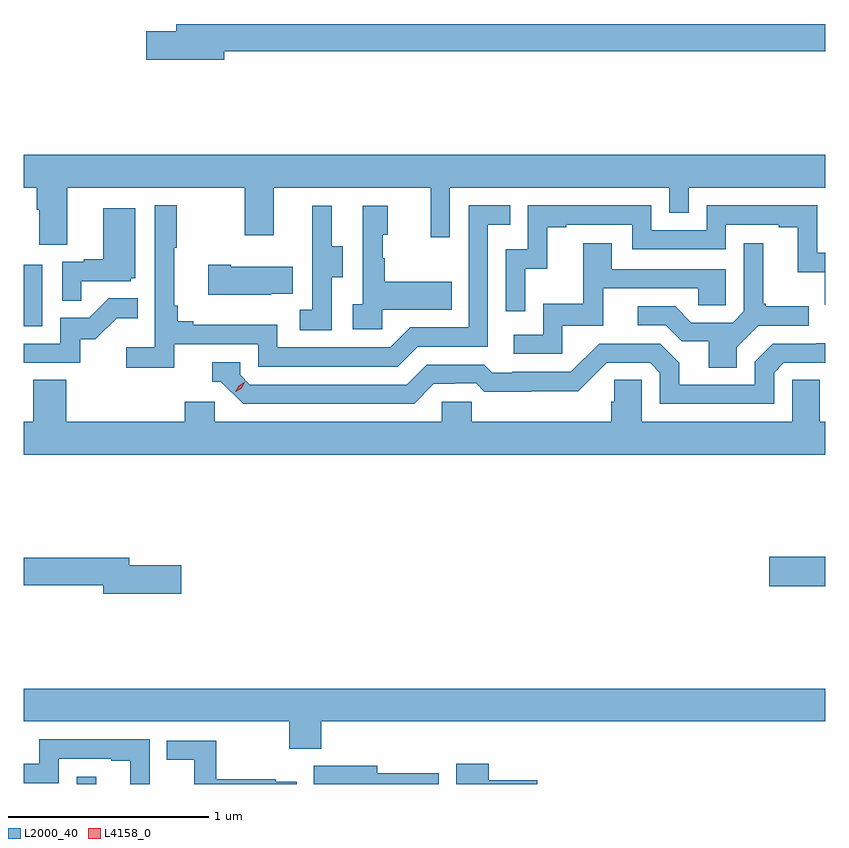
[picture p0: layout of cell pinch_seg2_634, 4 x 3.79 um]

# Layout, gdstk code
import gdstk
lib = gdstk.Library(unit=1e-6, precision=1e-09)
def R(c, l, rs):  # rectangles x0, y0, x1, y1
    for r in rs: c.add(gdstk.rectangle(r[:2], r[2:], *l))
def P(c, l, *ps):  # polygons
    for p in ps: c.add(gdstk.Polygon(p, *l))
L2000_40 = (2000, 40)
L4158_0 = (4158, 0)

pinch_seg2_634 = lib.new_cell('pinch_seg2_634')
R(pinch_seg2_634, L2000_40, [(1066.53,587.384,1066.627,587.419), (1069.986,588.371,1070.266,588.518), (1066.266,589.668,1066.36,589.975)])
P(pinch_seg2_634, L2000_40, [(1067.266,591.04),(1070.266,591.04),(1070.266,591.176),(1067.027,591.176),(1067.027,591.14),(1066.878,591.14),(1066.878,590.998),(1067.266,590.998)],
  [(1066.266,590.36),(1066.331,590.36),(1066.331,590.248),(1066.343,590.248),(1066.343,590.074),(1066.483,590.074),(1066.483,590.36),(1067.368,590.36),(1067.368,590.121),(1067.515,590.121),(1067.515,590.36),(1068.296,590.36),(1068.296,590.112),(1068.393,590.112),(1068.393,590.36),(1069.488,590.36),(1069.488,590.233),(1069.584,590.233),(1069.584,590.36),(1070.266,590.36),(1070.266,590.524),(1066.266,590.524)],
  [(1067.018,589.578),(1067.436,589.578),(1067.436,589.467),(1068.133,589.467),(1068.232,589.566),(1068.582,589.566),(1068.582,590.175),(1068.695,590.175),(1068.695,590.271),(1068.486,590.271),(1068.486,589.662),(1068.195,589.662),(1068.096,589.563),(1067.532,589.563),(1067.532,589.675),(1067.113,589.675),(1067.113,589.694),(1067.036,589.694),(1067.036,589.771),(1067.017,589.771),(1067.017,590.059),(1067.029,590.059),(1067.029,590.272),(1066.92,590.272),(1066.92,589.564),(1066.779,589.564),(1066.779,589.462),(1067.018,589.462)],
  [(1068.768,589.955),(1068.878,589.955),(1068.878,590.163),(1068.973,590.163),(1068.973,590.175),(1069.302,590.175),(1069.302,590.052),(1069.77,590.052),(1069.77,590.175),(1070.033,590.175),(1070.033,590.163),(1070.129,590.163),(1070.129,589.937),(1070.262,589.937),(1070.262,589.776),(1070.266,589.776),(1070.266,590.035),(1070.226,590.035),(1070.226,590.271),(1069.674,590.271),(1069.674,590.148),(1069.398,590.148),(1069.398,590.271),(1068.78,590.271),(1068.78,590.052),(1068.672,590.052),(1068.672,589.743),(1068.768,589.743)],
  [(1067.802,589.912),(1067.857,589.912),(1067.857,590.067),(1067.803,590.067),(1067.803,590.269),(1067.705,590.269),(1067.705,590.055),(1067.706,590.055),(1067.706,589.751),(1067.643,589.751),(1067.643,589.648),(1067.802,589.648)],
  [(1068.054,589.751),(1068.401,589.751),(1068.401,589.891),(1068.067,589.891),(1068.067,590.006),(1068.057,590.006),(1068.057,590.124),(1068.082,590.124),(1068.082,590.269),(1067.958,590.269),(1067.958,589.778),(1067.907,589.778),(1067.907,589.653),(1068.054,589.653)],
  [(1066.553,589.893),(1066.8,589.893),(1066.8,589.908),(1066.822,589.908),(1066.822,590.257),(1066.664,590.257),(1066.664,590.002),(1066.565,590.002),(1066.565,589.989),(1066.458,589.989),(1066.458,589.795),(1066.553,589.795)],
  [(1068.954,589.671),(1069.159,589.671),(1069.159,589.857),(1069.633,589.857),(1069.633,589.773),(1069.77,589.773),(1069.77,589.953),(1069.201,589.953),(1069.201,590.083),(1069.057,590.083),(1069.057,589.78),(1068.858,589.78),(1068.858,589.626),(1068.711,589.626),(1068.711,589.53),(1068.954,589.53)],
  [(1069.825,589.564),(1069.932,589.671),(1070.182,589.671),(1070.182,589.768),(1069.969,589.768),(1069.969,589.78),(1069.957,589.78),(1069.957,590.083),(1069.86,590.083),(1069.86,589.743),(1069.803,589.686),(1069.597,589.686),(1069.516,589.767),(1069.329,589.767),(1069.329,589.674),(1069.47,589.674),(1069.55,589.594),(1069.685,589.594),(1069.685,589.462),(1069.825,589.462)],
  [(1067.501,589.829),(1067.609,589.829),(1067.609,589.966),(1067.299,589.966),(1067.299,589.974),(1067.187,589.974),(1067.187,589.826),(1067.501,589.826)],
  [(1066.548,589.602),(1066.624,589.602),(1066.731,589.709),(1066.835,589.709),(1066.835,589.808),(1066.691,589.808),(1066.593,589.71),(1066.449,589.71),(1066.449,589.581),(1066.266,589.581),(1066.266,589.485),(1066.548,589.485)],
  [(1068.313,589.38),(1068.42,589.38),(1068.42,589.383),(1068.523,589.383),(1068.565,589.341),(1068.798,589.341),(1068.798,589.343),(1069.034,589.343),(1069.176,589.485),(1069.392,589.485),(1069.44,589.437),(1069.44,589.281),(1070.01,589.281),(1070.01,589.437),(1070.058,589.485),(1070.266,589.485),(1070.266,589.583),(1070.22,589.583),(1070.22,589.581),(1070.004,589.581),(1069.914,589.491),(1069.914,589.377),(1069.537,589.377),(1069.537,589.487),(1069.443,589.581),(1069.137,589.581),(1068.996,589.44),(1068.703,589.44),(1068.703,589.437),(1068.604,589.437),(1068.565,589.476),(1068.276,589.476),(1068.177,589.377),(1067.394,589.377),(1067.346,589.425),(1067.346,589.488),(1067.207,589.488),(1067.207,589.392),(1067.25,589.392),(1067.361,589.281),(1068.214,589.281)],
  [(1070.266,589.192),(1070.239,589.192),(1070.239,589.4),(1070.1,589.4),(1070.1,589.192),(1069.35,589.192),(1069.35,589.4),(1069.213,589.4),(1069.213,589.29),(1069.199,589.29),(1069.199,589.192),(1068.501,589.192),(1068.501,589.29),(1068.351,589.29),(1068.351,589.192),(1067.22,589.192),(1067.22,589.29),(1067.069,589.29),(1067.069,589.192),(1066.478,589.192),(1066.478,589.4),(1066.313,589.4),(1066.313,589.192),(1066.266,589.192),(1066.266,589.028),(1070.266,589.028)],
  [(1067.053,588.476),(1066.792,588.476),(1066.792,588.512),(1066.266,588.512),(1066.266,588.376),(1066.664,588.376),(1066.664,588.334),(1067.053,588.334)],
  [(1067.75,587.696),(1070.266,587.696),(1070.266,587.86),(1066.266,587.86),(1066.266,587.696),(1067.59,587.696),(1067.59,587.561),(1067.75,587.561)],
  [(1066.896,587.607),(1066.344,587.607),(1066.344,587.484),(1066.266,587.484),(1066.266,587.388),(1066.44,587.388),(1066.44,587.511),(1066.703,587.511),(1066.703,587.499),(1066.799,587.499),(1066.799,587.384),(1066.896,587.384)],
  [(1067.628,587.395),(1067.525,587.395),(1067.525,587.407),(1067.227,587.407),(1067.227,587.601),(1066.981,587.601),(1066.981,587.504),(1067.116,587.504),(1067.116,587.384),(1067.628,587.384)],
  [(1068.829,587.403),(1068.586,587.403),(1068.586,587.485),(1068.425,587.485),(1068.425,587.384),(1068.829,587.384)],
  [(1068.336,587.438),(1068.031,587.438),(1068.031,587.476),(1067.713,587.476),(1067.713,587.384),(1068.336,587.384)])
P(pinch_seg2_634, L4158_0, [(1067.322,589.34),(1067.322,589.34),(1067.338,589.372),(1067.368,589.392),(1067.369,589.392),(1067.369,589.392),(1067.353,589.359),(1067.323,589.34)])

lib.write_gds('pinch_seg2_634.gds')
